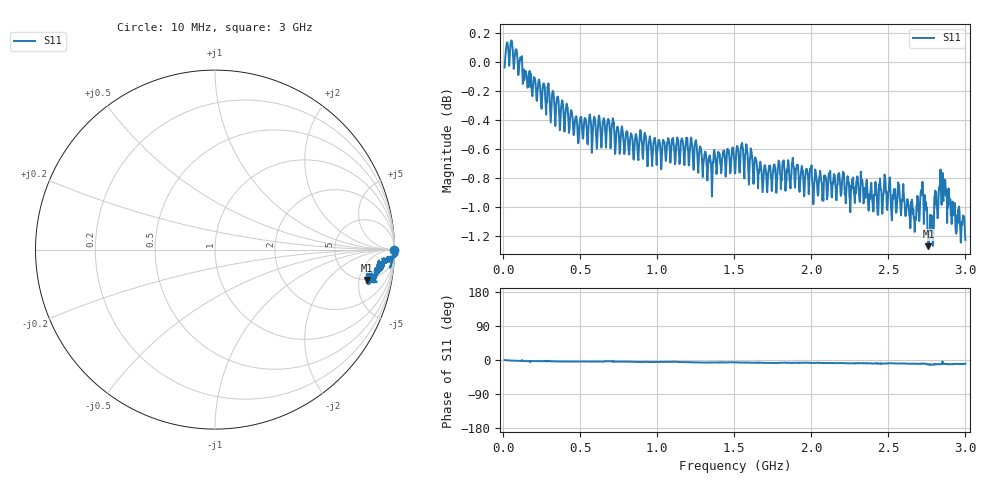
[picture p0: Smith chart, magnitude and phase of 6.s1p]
# HZ S RI R 50
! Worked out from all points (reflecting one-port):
!   1010 points, 10 MHz to 3 GHz, reference 50 ohm
!   lowest |S11| = -1.3 dB at 2.76 GHz (marker M1), VSWR 13.67, Z = 245 - j325 ohm
!   phase of S11 starts at -0 deg and turns -10 deg over the sweep
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1e7  0.9957 -0.00206
4.259663e7  1.001 -0.0194
1.611298e8  0.9791 -0.0467
2.915164e8  0.9779 -0.0574
3.863429e8  0.967 -0.0681
6.411893e8  0.938 -0.0713
6.797126e8  0.9535 -0.0552
7.597225e8  0.9298 -0.0731
8.81219e8  0.9293 -0.0855
1.133102e9  0.9361 -0.0821
1.304975e9  0.9203 -0.1075
1.506482e9  0.9093 -0.1029
1.761328e9  0.9135 -0.1227
1.879861e9  0.9191 -0.1176
1.968761e9  0.9111 -0.1161
2.253241e9  0.8778 -0.1298
2.321397e9  0.9066 -0.1341
2.457711e9  0.8802 -0.145
2.516977e9  0.8825 -0.1303
2.62662e9  0.8819 -0.149
2.685887e9  0.8793 -0.1534
2.72441e9  0.8899 -0.1484
2.75997e9  0.847 -0.1686
2.780714e9  0.8656 -0.1847
2.828127e9  0.8865 -0.1766
2.851833e9  0.9136 -0.0595
2.90221e9  0.8805 -0.1683
3e9  0.8554 -0.1471
